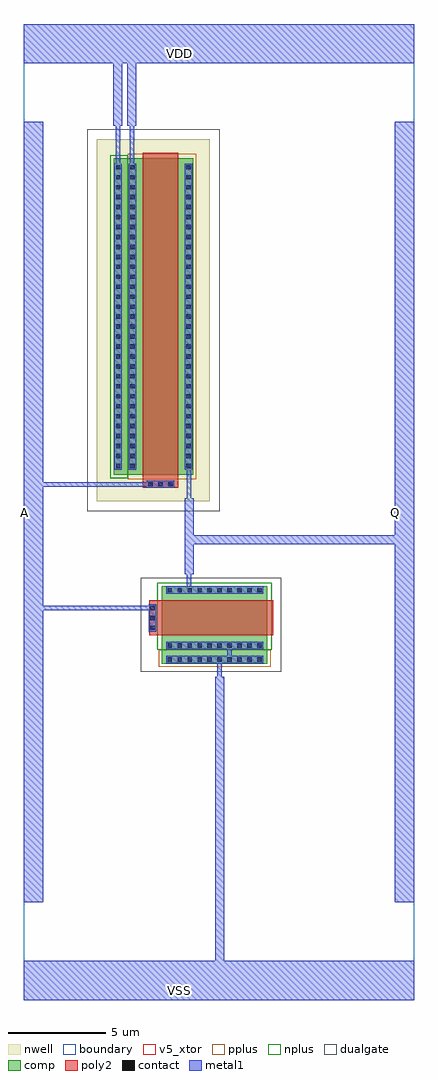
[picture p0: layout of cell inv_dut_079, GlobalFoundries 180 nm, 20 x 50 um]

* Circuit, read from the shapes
.subckt inv_dut_079 A Q VDD VSS
XM1 Q A VSS VSS nfet_05v0 w=5.4u l=1.8u
XM2 Q A VDD VDD pfet_05v0 w=16.2u l=1.8u
.ends

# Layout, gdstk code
from math import pi, radians
import gdstk
lib = gdstk.Library(unit=1e-6, precision=1e-09)
def R(c, l, rs):  # rectangles x0, y0, x1, y1
    for r in rs: c.add(gdstk.rectangle(r[:2], r[2:], *l))
def A(c, l, x, y, w, h, nx, ny, dx, dy):  # array of equal rectangles
    R(c, l, [(x+i*dx, y+j*dy, x+i*dx+w, y+j*dy+h) for i in range(nx) for j in range(ny)])
boundary = (0, 0)
nwell = (21, 0)
comp = (22, 0)
poly2 = (30, 0)
pplus = (31, 0)
nplus = (32, 0)
contact = (33, 0)
metal1 = (34, 0)
dualgate = (55, 0)
v5_xtor = (112, 1)

nfet = lib.new_cell('nfet')
R(nfet, comp, [(-0.42,0,3.55,5.4)])
R(nfet, poly2, [(0.31,-0.3,2.11,6.06)])
R(nfet, pplus, [(2.84,-0.17,3.72,5.57)])
R(nfet, nplus, [(-0.59,-0.24,2.84,5.64)])
A(nfet, contact, -0.32, 0.295, 0.22, 0.22, 1, 10, 0, 0.51)
A(nfet, contact, 2.52, 0.295, 0.22, 0.22, 1, 10, 0, 0.51)
A(nfet, contact, 3.23, 0.295, 0.22, 0.22, 1, 10, 0, 0.51)
A(nfet, contact, 0.59, 5.77, 0.22, 0.22, 3, 1, 0.51, 0)
R(nfet, metal1, [(-0.4,0.215,-0.02,5.185), (2.44,0.215,2.82,5.185), (3.15,0.215,3.53,5.185), (0.51,5.69,1.91,6.07)])
R(nfet, dualgate, [(-0.84,-0.71,3.97,6.48)])
R(nfet, v5_xtor, [(-0.84,-0.71,3.97,6.48)])

pfet = lib.new_cell('pfet')
R(pfet, nwell, [(-1.32,-1.37,4.47,17.19)])
R(pfet, comp, [(-0.46,0,3.61,16.2)])
R(pfet, poly2, [(0.31,-0.68,2.11,16.5)])
R(pfet, pplus, [(-0.63,-0.24,2.88,16.44)])
R(pfet, nplus, [(2.88,-0.17,3.78,16.37)])
A(pfet, contact, 0.59, -0.6, 0.22, 0.22, 3, 1, 0.51, 0)
A(pfet, contact, -0.34, 0.34, 0.22, 0.22, 1, 31, 0, 0.51)
A(pfet, contact, 2.54, 0.34, 0.22, 0.22, 1, 31, 0, 0.51)
A(pfet, contact, 3.27, 0.34, 0.22, 0.22, 1, 31, 0, 0.51)
R(pfet, metal1, [(0.51,-0.68,1.91,-0.3), (-0.42,0.26,-0.04,15.94), (2.46,0.26,2.84,15.94), (3.19,0.26,3.57,15.94)])
R(pfet, dualgate, [(-1.82,-1.87,4.97,17.69)])
R(pfet, v5_xtor, [(-1.82,-1.87,4.97,17.69)])

inv_dut_079 = lib.new_cell('inv_dut_079')
R(inv_dut_079, boundary, [(-10,-25,10,25)])
R(inv_dut_079, metal1, [(-10,-25,10,-23), (-0.195,-23.15,0.265,-8.45), (-10,-20,-9,20), (9,-20,10,20), (-1.765,-3.2,-1.305,0.7), (-1.765,-1.65,9.1,-1.19), (-5.405,19.8,-4.945,23.2), (-4.69,19.8,-4.23,23.2), (-10,23,10,25)])
inv_dut_079.add(gdstk.FlexPath([(-2.37,1.42),(-9.065,1.42)], 0.23, ends="flush", simple_path=True, layer=34, datatype=0))  # metal1
inv_dut_079.add(gdstk.FlexPath([(-3.295,-4.915),(-9.73,-4.915),(-9.73,-5.205)], 0.23, ends="flush", simple_path=True, layer=34, datatype=0))  # metal1
inv_dut_079.add(gdstk.FlexPath([(-1.525,-1.42),(9.325,-1.42)], 0.23, ends="flush", simple_path=True, layer=34, datatype=0))  # metal1
inv_dut_079.add(gdstk.FlexPath([(-1.535,2.885),(-1.535,-4.135)], 0.23, ends="flush", simple_path=True, layer=34, datatype=0))  # metal1
inv_dut_079.add(gdstk.FlexPath([(-4.46,17.5),(-4.46,23.4)], 0.23, ends="flush", simple_path=True, layer=34, datatype=0))  # metal1
inv_dut_079.add(gdstk.FlexPath([(0.54,-6.76),(0.54,-7.645)], 0.23, ends="flush", simple_path=True, layer=34, datatype=0))  # metal1
inv_dut_079.add(gdstk.FlexPath([(0.035,-23.815),(0.035,-7.485),(-0.015,-7.485)], 0.23, ends="flush", simple_path=True, layer=34, datatype=0))  # metal1
inv_dut_079.add(gdstk.FlexPath([(-5.175,17.42),(-5.175,24.015)], 0.23, ends="flush", simple_path=True, layer=34, datatype=0))  # metal1
inv_dut_079.add(gdstk.Reference(nfet, (2.475,-4.215), rotation=3*pi/2, x_reflection=True))
inv_dut_079.add(gdstk.Reference(pfet, (-1.785,1.91), rotation=pi, x_reflection=True))
inv_dut_079.add(gdstk.Label('VDD', (-2,23.5), layer=34, texttype=10))
inv_dut_079.add(gdstk.Label('VSS', (-2,-24.5), layer=34, texttype=10))
inv_dut_079.add(gdstk.Label('A', (-9.97,0), layer=34, texttype=10))
inv_dut_079.add(gdstk.Label('Q', (9.03,0), layer=34, texttype=10))

lib.write_gds('inv_dut_079.gds')
